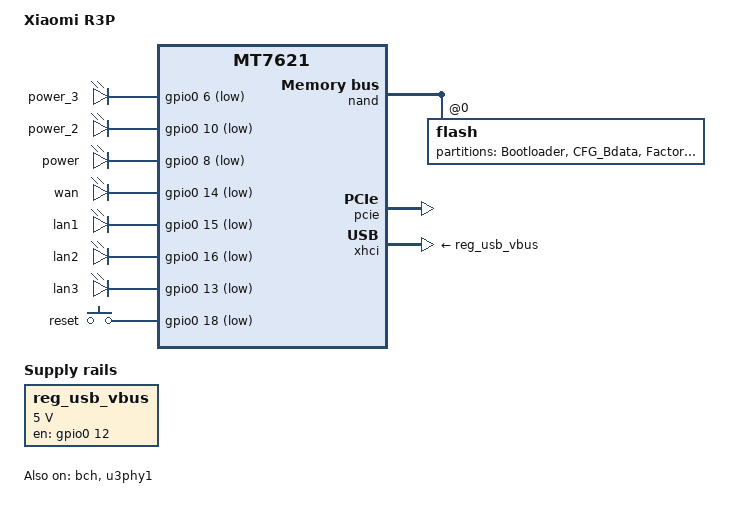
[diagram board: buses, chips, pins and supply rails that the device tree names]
/dts-v1/;

#include "mt7621.dtsi"
#include <dt-bindings/input/input.h>
#include "mt7621-raeth-gmac2.dtsi"
#include "mt7621-pinctrl-default-gpio.dtsi"

/ {
	compatible = "mediatek,mt7621-soc";
	model = "Xiaomi R3P";

	chosen {
		bootargs = "console=ttyS0,115200";
	};

	leds {
		compatible = "gpio-leds";

		sys_red {
			label = "power_3";
			gpios = <&gpio0 6 GPIO_ACTIVE_LOW>;
		};

		sys_yellow {
			label = "power_2";
			gpios = <&gpio0 10 GPIO_ACTIVE_LOW>;
		};

		sys_blue {
			label = "power";
			gpios = <&gpio0 8 GPIO_ACTIVE_LOW>;
		};

		wan {
			label = "wan";
			gpios = <&gpio0 14 GPIO_ACTIVE_LOW>;
		};

		lan1 {
			label = "lan1";
			gpios = <&gpio0 15 GPIO_ACTIVE_LOW>;
		};

		lan2 {
			label = "lan2";
			gpios = <&gpio0 16 GPIO_ACTIVE_LOW>;
		};

		lan3 {
			label = "lan3";
			gpios = <&gpio0 13 GPIO_ACTIVE_LOW>;
		};
	};

	gpio-keys-polled {
		compatible = "gpio-keys-polled";
		#address-cells = <1>;
		#size-cells = <0>;
		poll-interval = <20>;

		reset {
			label = "reset";
			gpios = <&gpio0 18 GPIO_ACTIVE_LOW>;
			linux,code = <KEY_RESTART>;
		};
	};

	reg_usb_vbus: regulator {
		compatible = "regulator-fixed";
		regulator-name = "usb_vbus";
		regulator-min-microvolt = <5000000>;
		regulator-max-microvolt = <5000000>;
		gpio = <&gpio0 12 GPIO_ACTIVE_HIGH>;
		enable-active-high;
	};

};

&bch {
	status = "okay";
};

&nand {
	status = "okay";

	flash@0 {
		reg = <0>;
		nand-ecc-mode = "hw";
		partitions {
			compatible = "fixed-partitions";
			#address-cells = <1>;
			#size-cells = <1>;

			partition@0 {
				label = "Bootloader";
				reg = <0x00000 0x40000>; /* 256k */
			};

			partition@40000 {
				label = "CFG_Bdata";
				reg = <0x40000 0x80000>; /* 512k */
			};

			partition@0c0000 {
				label = "Factory";
				reg = <0x0c0000 0x40000>; /* 256k */
			};

			partition@100000 {
				label = "Crash";
				reg = <0x100000 0xc0000>; /* 768k */
			};

			partition@1c0000 {
				label = "Cfg_bak";
				reg = <0x1c0000 0x40000>; /* 256k */
			};

			partition@200000 {
				label = "stock";
				reg = <0x200000 0x400000>; /* 4096k */
			};

			partition@600000 {
				label = "firmware";
				reg = <0x600000 0x1800000>; /* 24M */
			};

			partition@1e00000 {
				label = "Config";
				reg = <0x1e00000 0x80000>; /* 512K */
			};

			partition@1e80000 {
				label = "Storage";
				reg = <0x1e80000 0x400000>; /* 4096K */
			};

			partition@2280000 {
				label = "RWFS";
				reg = <0x2280000 0xdd00000>;
			};

			partition@all {
				label = "ALL";
				reg = <0x0 0xff80000>;
			};
		};
	};
};

&pcie {
	status = "okay";
};

&xhci {
	vbus-supply = <&reg_usb_vbus>;
	status = "okay";
};

&u3phy1 {
	status = "okay";
};
